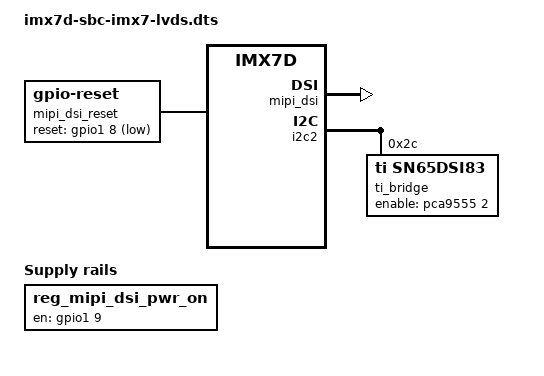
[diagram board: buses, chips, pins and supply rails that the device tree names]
/*
 * Copyright (C) 2017 CompuLab Ltd.
 *
 * This program is free software; you can redistribute it and/or modify
 * it under the terms of the GNU General Public License version 2 as
 * published by the Free Software Foundation.
 */

#include "imx7d-sbc-imx7.dts"

/ {
	mipi_dsi_reset: mipi-dsi-reset {
		compatible = "gpio-reset";
		/* Unused gpio - routed to P4_21 */
		reset-gpios = <&gpio1 8 GPIO_ACTIVE_LOW>;
		reset-delay-us = <100>;
		#reset-cells = <0>;
	};

	regulators {
		reg_mipi_dsi_pwr_on: mipi_dsi_pwr_on {
			compatible = "regulator-fixed";
			regulator-name = "mipi_dsi_pwr_on";
			/* Unused gpio - routed to P4_23 */
			gpio = <&gpio1 9 GPIO_ACTIVE_HIGH>;
			enable-active-high;
		};
	};
};

&lcdif {
	disp-dev = "mipi_dsi_samsung";
};

&mipi_dsi {
	lcd_panel = "SN65DSI_default";
	disp-power-on-supply = <&reg_mipi_dsi_pwr_on>;
	resets = <&mipi_dsi_reset>;
	status = "okay";
};

&i2c2 {
	ti_bridge: sn65dsi83@2c {
		compatible = "ti,sn65dsi83";
		reg = <0x2c>;
		enable-gpios = <&pca9555 2 GPIO_ACTIVE_HIGH>;
		status = "okay";
		lvds_panel {
			/* Ampire 7"-AM-1280800P */
			lvds-bpp = <24>;
			lvds-format = <0>;
			display-timings {
				clock-frequency = <62500000>;
				hactive = <1280>;
				vactive = <800>;
				hback-porch = <6>;
				hfront-porch = <5>;
				vback-porch = <2>;
				vfront-porch = <3>;
				hsync-len = <2>;
				vsync-len = <1>;
				hsync-active = <0>;
				vsync-active = <0>;
				de-active = <0>;
				pixelclk-active = <0>;
			};
		};
	};
};
